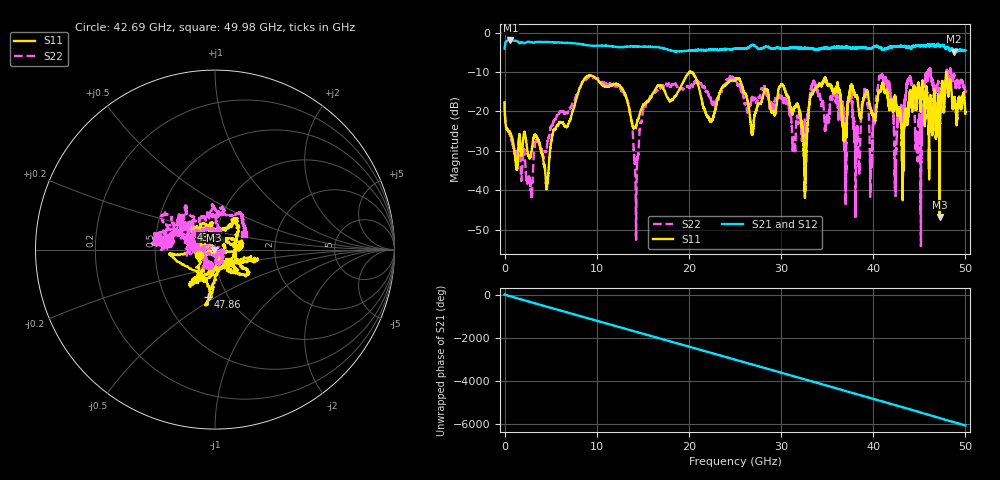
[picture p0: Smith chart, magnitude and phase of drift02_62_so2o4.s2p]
!Created with skrf (http://scikit-rf.org).
# Hz S RI R 50.0
!freq ReS11 ImS11 ReS21 ImS21 ReS12 ImS12 ReS22 ImS22
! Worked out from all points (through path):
!   10001 points, 300 kHz to 50 GHz, reference 50 ohm
!   highest |S21| = -1.99 dB at 630.3 MHz (marker M1); lowest = -4.8 dB at 48.77 GHz (marker M2)
!   group delay of S21, straight-line fit = 337 ps
!   lowest |S11| = -46.8 dB at 47.2 GHz (marker M3), VSWR 1.01, Z = 49.6 - j0.212 ohm
!   |S11| at or under -10 dB: start of sweep to 20.06 GHz; 20.20704 GHz to 20.21892 GHz (11.87 MHz wide, 0.0587 % of centre); 20.24 GHz to end of sweep (the widest 3 of 5)
!   |S22| runs from -54.2 to -9.0 dB; largest |S21 - S12| = 0.034
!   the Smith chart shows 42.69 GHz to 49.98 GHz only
!   S11 on the Smith chart (normalised r, x): 42.69 GHz: 0.83, -0.05; 43.95 GHz: 0.75, +0.17; 47.86 GHz: 0.81, -0.46; 49.98 GHz: 1.15, -0.15
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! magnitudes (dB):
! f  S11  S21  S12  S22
! 300 kHz  -17.8  -4.0  -4.0  -17.4
! 630.3 MHz  -25.5  -2.0  -2.0  -26.4
! 4.565 GHz  -39.8  -2.4  -2.4  -29.4
! 8.335 GHz  -13.0  -2.9  -2.9  -13.2
! 13.01 GHz  -15.3  -3.7  -3.6  -15.7
! 14.28 GHz  -23.8  -3.5  -3.5  -49.4
! 16.67 GHz  -13.4  -3.7  -3.7  -14.5
! 25 GHz  -12.1  -4.1  -4.1  -12.2
! 30.19 GHz  -13.4  -4.1  -4.1  -16.9
! 32.58 GHz  -39.0  -3.9  -4.0  -24.3
! 33.34 GHz  -15.7  -4.0  -4.0  -13.7
! 38.29 GHz  -16.8  -3.9  -3.9  -23.7
! 41.67 GHz  -18.5  -3.8  -3.9  -12.4
! 42.69 GHz  -20.4  -3.5  -3.5  -20.7
! 43.95 GHz  -15.1  -3.6  -3.6  -11.4
! 44.99 GHz  -14.5  -3.4  -3.3  -21.9
! 45.9 GHz  -17.0  -3.2  -3.2  -11.4
! 47.2 GHz  -46.8  -3.5  -3.5  -16.7
! 47.86 GHz  -11.5  -4.1  -4.1  -13.3
! 48.77 GHz  -16.9  -4.8  -4.8  -10.8
! 49.98 GHz  -20.3  -4.6  -4.5  -14.7
! 50 GHz  -20.6  -4.5  -4.6  -15.4
